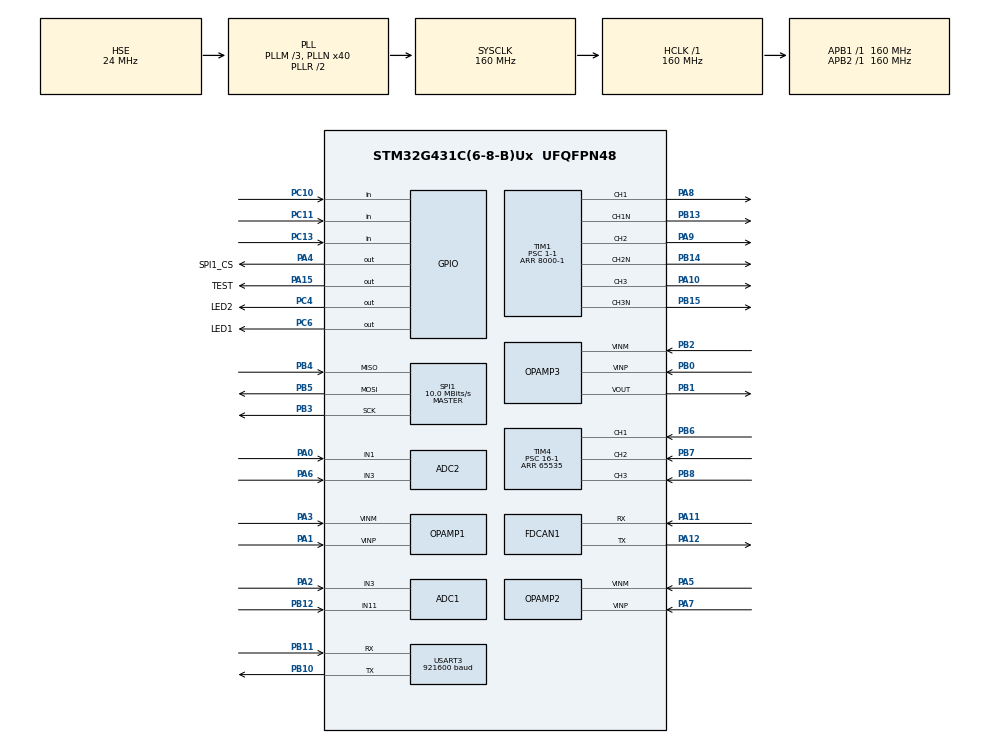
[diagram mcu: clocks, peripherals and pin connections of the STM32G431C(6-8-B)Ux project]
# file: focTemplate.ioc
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ADC1.Channel-0\#ChannelRegularConversion=ADC_CHANNEL_11
ADC1.ClockPrescaler=ADC_CLOCK_ASYNC_DIV4
ADC1.EnableInjectedConversion=ENABLE
ADC1.ExternalTrigInjecConv=ADC_EXTERNALTRIGINJEC_T1_CC4
ADC1.InjNumberOfConversion=2
ADC1.InjectedChannel-1\#ChannelInjectedConversion=ADC_CHANNEL_3
ADC1.InjectedChannel-2\#ChannelInjectedConversion=ADC_CHANNEL_12
ADC1.InjectedOffsetNumber-1\#ChannelInjectedConversion=ADC_OFFSET_NONE
ADC1.InjectedOffsetNumber-2\#ChannelInjectedConversion=ADC_OFFSET_NONE
ADC1.InjectedRank-1\#ChannelInjectedConversion=1
ADC1.InjectedRank-2\#ChannelInjectedConversion=2
ADC1.InjectedSamplingTime-1\#ChannelInjectedConversion=ADC_SAMPLETIME_6CYCLES_5
ADC1.InjectedSamplingTime-2\#ChannelInjectedConversion=ADC_SAMPLETIME_6CYCLES_5
ADC1.NbrOfConversionFlag=1
ADC1.OffsetNumber-0\#ChannelRegularConversion=ADC_OFFSET_NONE
ADC1.Rank-0\#ChannelRegularConversion=1
ADC1.SamplingTime-0\#ChannelRegularConversion=ADC_SAMPLETIME_2CYCLES_5
ADC1.master=1
ADC2.Channel-2\#ChannelRegularConversion=ADC_CHANNEL_1
ADC2.ClockPrescaler=ADC_CLOCK_ASYNC_DIV4
ADC2.EnableInjectedConversion=ENABLE
ADC2.EnableRegularConversion=ENABLE
ADC2.ExternalTrigInjecConv=ADC_EXTERNALTRIGINJEC_T1_CC4
ADC2.InjNumberOfConversion=1
ADC2.InjectedChannel-1\#ChannelInjectedConversion=ADC_CHANNEL_3
ADC2.InjectedOffsetNumber-1\#ChannelInjectedConversion=ADC_OFFSET_NONE
ADC2.InjectedRank-1\#ChannelInjectedConversion=1
ADC2.InjectedSamplingTime-1\#ChannelInjectedConversion=ADC_SAMPLETIME_6CYCLES_5
ADC2.NbrOfConversionFlag=1
ADC2.OffsetNumber-2\#ChannelRegularConversion=ADC_OFFSET_NONE
ADC2.Rank-2\#ChannelRegularConversion=1
ADC2.SamplingTime-2\#ChannelRegularConversion=ADC_SAMPLETIME_2CYCLES_5
COMP1.TriggerMode=COMP_TRIGGERMODE_IT_RISING
Dma.Request0=USART3_TX
Dma.Request1=USART3_RX
Dma.USART3_RX.1.Direction=DMA_PERIPH_TO_MEMORY
Dma.USART3_RX.1.EventEnable=DISABLE
Dma.USART3_RX.1.Instance=DMA1_Channel2
Dma.USART3_RX.1.MemDataAlignment=DMA_MDATAALIGN_BYTE
Dma.USART3_RX.1.MemInc=DMA_MINC_ENABLE
Dma.USART3_RX.1.Mode=DMA_NORMAL
Dma.USART3_RX.1.PeriphDataAlignment=DMA_PDATAALIGN_BYTE
Dma.USART3_RX.1.PeriphInc=DMA_PINC_DISABLE
Dma.USART3_RX.1.Polarity=HAL_DMAMUX_REQ_GEN_RISING
Dma.USART3_RX.1.Priority=DMA_PRIORITY_LOW
Dma.USART3_RX.1.RequestNumber=1
Dma.USART3_RX.1.SignalID=NONE
Dma.USART3_RX.1.SyncEnable=DISABLE
Dma.USART3_RX.1.SyncPolarity=HAL_DMAMUX_SYNC_NO_EVENT
Dma.USART3_RX.1.SyncRequestNumber=1
Dma.USART3_RX.1.SyncSignalID=NONE
Dma.USART3_TX.0.Direction=DMA_MEMORY_TO_PERIPH
Dma.USART3_TX.0.EventEnable=DISABLE
Dma.USART3_TX.0.Instance=DMA1_Channel1
Dma.USART3_TX.0.MemDataAlignment=DMA_MDATAALIGN_BYTE
Dma.USART3_TX.0.MemInc=DMA_MINC_ENABLE
Dma.USART3_TX.0.Mode=DMA_NORMAL
Dma.USART3_TX.0.PeriphDataAlignment=DMA_PDATAALIGN_BYTE
Dma.USART3_TX.0.PeriphInc=DMA_PINC_DISABLE
Dma.USART3_TX.0.Polarity=HAL_DMAMUX_REQ_GEN_RISING
Dma.USART3_TX.0.Priority=DMA_PRIORITY_LOW
Dma.USART3_TX.0.RequestNumber=1
Dma.USART3_TX.0.SignalID=NONE
Dma.USART3_TX.0.SyncEnable=DISABLE
Dma.USART3_TX.0.SyncPolarity=HAL_DMAMUX_SYNC_NO_EVENT
Dma.USART3_TX.0.SyncRequestNumber=1
Dma.USART3_TX.0.SyncSignalID=NONE
FDCAN1.CalculateBaudRateNominal=500000
FDCAN1.CalculateTimeBitNominal=2000
FDCAN1.CalculateTimeQuantumNominal=125.0
FDCAN1.DataPrescaler=20
FDCAN1.DataTimeSeg1=10
FDCAN1.DataTimeSeg2=5
FDCAN1.ExtFiltersNbr=1
FDCAN1.NominalPrescaler=20
FDCAN1.NominalTimeSeg1=10
FDCAN1.NominalTimeSeg2=5
FDCAN1.StdFiltersNbr=1
Mcu.Family=STM32G4
Mcu.Name=STM32G431C(6-8-B)Ux
Mcu.Package=UFQFPN48
NVIC.ADC1_2_IRQn=true\:0\:0\:true\:false\:true\:true\:true\:true
NVIC.COMP1_2_3_IRQn=true\:1\:0\:true\:false\:true\:false\:true\:true
NVIC.DMA1_Channel1_IRQn=true\:1\:0\:true\:false\:true\:false\:true\:true
NVIC.DMA1_Channel2_IRQn=true\:1\:0\:true\:false\:true\:false\:true\:true
NVIC.PriorityGroup=NVIC_PRIORITYGROUP_4
NVIC.USART3_IRQn=true\:1\:0\:true\:false\:true\:true\:true\:true
PA0.Mode=IN1-Single-Ended
PA0.Signal=ADC2_IN1
PA1.Mode=Standalone
PA1.Signal=OPAMP1_VINP
PA10.Signal=S_TIM1_CH3
PA11.Mode=FDCAN_Activate
PA11.Signal=FDCAN1_RX
PA12.Mode=FDCAN_Activate
PA12.Signal=FDCAN1_TX
PA13.Mode=Serial_Wire
PA13.Signal=SYS_JTMS-SWDIO
PA14.Mode=Serial_Wire
PA14.Signal=SYS_JTCK-SWCLK
PA15.GPIO_Label=TEST
PA15.GPIO_Speed=GPIO_SPEED_FREQ_VERY_HIGH
PA15.Signal=GPIO_Output
PA2.Signal=SharedAnalog_PA2
PA3.Mode=Standalone
PA3.Signal=OPAMP1_VINM
PA4.GPIO_Label=SPI1_CS
PA4.GPIO_Speed=GPIO_SPEED_FREQ_VERY_HIGH
PA4.PinState=GPIO_PIN_SET
PA4.Signal=GPIO_Output
PA5.Mode=Standalone
PA5.Signal=OPAMP2_VINM
PA6.Signal=SharedAnalog_PA6
PA7.Mode=Standalone
PA7.Signal=OPAMP2_VINP
PA8.Signal=S_TIM1_CH1
PA9.Signal=S_TIM1_CH2
PB0.Mode=Standalone
PB0.Signal=OPAMP3_VINP
PB1.Signal=SharedAnalog_PB1
PB10.Mode=Asynchronous
PB10.Signal=USART3_TX
PB11.Mode=Asynchronous
PB11.Signal=USART3_RX
PB12.Mode=IN11-Single-Ended
PB12.Signal=ADC1_IN11
PB13.Mode=PWM Generation1 CH1 CH1N
PB13.Signal=TIM1_CH1N
PB14.Mode=PWM Generation2 CH2 CH2N
PB14.Signal=TIM1_CH2N
PB15.Mode=PWM Generation3 CH3 CH3N
PB15.Signal=TIM1_CH3N
PB2.Mode=Standalone
PB2.Signal=OPAMP3_VINM
PB3.Mode=Full_Duplex_Master
PB3.Signal=SPI1_SCK
PB4.Mode=Full_Duplex_Master
PB4.Signal=SPI1_MISO
PB5.Mode=Full_Duplex_Master
PB5.Signal=SPI1_MOSI
PB6.Signal=S_TIM4_CH1
PB7.Signal=S_TIM4_CH2
PB8-BOOT0.Signal=S_TIM4_CH3
PC10.Signal=GPIO_Input
PC11.Signal=GPIO_Input
PC13.Signal=GPIO_Input
PC4.GPIO_Label=LED2
PC4.Signal=GPIO_Output
PC6.GPIO_Label=LED1
PC6.Signal=GPIO_Output
PF0-OSC_IN.Mode=HSE-External-Oscillator
PF0-OSC_IN.Signal=RCC_OSC_IN
PF1-OSC_OUT.Mode=HSE-External-Oscillator
PF1-OSC_OUT.Signal=RCC_OSC_OUT
ProjectManager.HeapSize=0x200
ProjectManager.StackSize=0x400
ProjectManager.TargetToolchain=STM32CubeIDE
RCC.ADC12Freq_Value=160000000
RCC.AHBFreq_Value=160000000
RCC.APB1Freq_Value=160000000
RCC.APB1TimFreq_Value=160000000
RCC.APB2Freq_Value=160000000
RCC.APB2TimFreq_Value=160000000
RCC.CortexFreq_Value=160000000
RCC.EXTERNAL_CLOCK_VALUE=12288000
RCC.HCLKFreq_Value=160000000
RCC.HSE_VALUE=24000000
RCC.HSI48_VALUE=48000000
RCC.HSI_VALUE=16000000
RCC.LSE_VALUE=32768
RCC.PLLM=RCC_PLLM_DIV3
RCC.PLLN=40
RCC.PLLSourceVirtual=RCC_PLLSOURCE_HSE
RCC.SYSCLKFreq_VALUE=160000000
RCC.SYSCLKSource=RCC_SYSCLKSOURCE_PLLCLK
RCC.USBFreq_Value=160000000
RCC.VCOOutputFreq_Value=320000000
SH.S_TIM1_CH1.0=TIM1_CH1,PWM Generation1 CH1 CH1N
SH.S_TIM1_CH2.0=TIM1_CH2,PWM Generation2 CH2 CH2N
SH.S_TIM1_CH3.0=TIM1_CH3,PWM Generation3 CH3 CH3N
SH.S_TIM4_CH1.0=TIM4_CH1,Xored_Inputs_Hall_Sensor_Interface
SH.S_TIM4_CH2.0=TIM4_CH2,Xored_Inputs_Hall_Sensor_Interface
SH.S_TIM4_CH3.0=TIM4_CH3,Xored_Inputs_Hall_Sensor_Interface
SH.SharedAnalog_PA2.0=ADC1_IN3,IN3-Single-Ended
SH.SharedAnalog_PA2.1=OPAMP1_VOUT,Standalone
SH.SharedAnalog_PA6.0=ADC2_IN3,IN3-Single-Ended
SH.SharedAnalog_PA6.1=OPAMP2_VOUT,Standalone
SH.SharedAnalog_PB1.0=OPAMP3_VOUT,Standalone
SH.SharedAnalog_PB1.1=ADC1_IN12,IN12-Single-Ended
SH.SharedAnalog_PB1.2=COMP1_INP,INP
SPI1.BaudRatePrescaler=SPI_BAUDRATEPRESCALER_16
SPI1.CLKPhase=SPI_PHASE_2EDGE
SPI1.CalculateBaudRate=10.0 MBits/s
SPI1.DataSize=SPI_DATASIZE_16BIT
SPI1.Direction=SPI_DIRECTION_2LINES
SPI1.Mode=SPI_MODE_MASTER
SPI1.VirtualType=VM_MASTER
STMicroelectronics.X-CUBE-ALGOBUILD.1.3.0.LibraryCcDSPOoLibraryJjDSPOoLibrary=true
TIM1.BreakFilter=2
TIM1.BreakState=TIM_BREAK_ENABLE
TIM1.Channel-PWM\ Generation1\ CH1\ CH1N=TIM_CHANNEL_1
TIM1.Channel-PWM\ Generation2\ CH2\ CH2N=TIM_CHANNEL_2
TIM1.Channel-PWM\ Generation3\ CH3\ CH3N=TIM_CHANNEL_3
TIM1.Channel-PWM\ Generation4\ No\ Output=TIM_CHANNEL_4
TIM1.ClockDivision=TIM_CLOCKDIVISION_DIV2
TIM1.CounterMode=TIM_COUNTERMODE_CENTERALIGNED1
TIM1.DeadTime=120
TIM1.OCMode_PWM-PWM\ Generation4\ No\ Output=TIM_OCMODE_PWM2
TIM1.PeriodNoDither=8000-1
TIM1.Prescaler=1-1
TIM1.PulseNoDither_4=8000-2
TIM1.RepetitionCounter=1
TIM1.SourceBRKCOMP1=TIM_BREAKINPUTSOURCE_ENABLE
TIM1.TIM_MasterOutputTrigger=TIM_TRGO_OC4REF
TIM4.Commutation_Delay=5
TIM4.IC1Filter=10
TIM4.PeriodNoDither=65535
TIM4.Prescaler=16-1
USART3.BaudRate=921600
USART3.VirtualMode-Asynchronous=VM_ASYNC
VP_COMP1_VS_DAC3OUT1.Mode=INM_DAC3OUT1
VP_DAC3_VS_DACI1.Mode=DAC_OUT1_Int
VP_STMicroelectronics.X-CUBE-ALGOBUILD_VS_DSPOoLibraryJjLibrary_1.3.0_1.3.0.Mode=DSPOoLibraryJjLibrary
VP_SYS_VS_DBSignals.Mode=DisableDeadBatterySignals
VP_TIM1_VS_ClockSourceINT.Mode=Internal
VP_TIM1_VS_no_output4.Mode=PWM Generation4 No Output
VP_TIM4_VS_ClockSourceINT.Mode=Internal
board=custom

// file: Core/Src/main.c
/* USER CODE BEGIN Header */
/**
 ******************************************************************************
 * @file           : main.c
 * @brief          : Main program body
 ******************************************************************************
 * @attention
 *
 * <h2><center>&copy; Copyright (c) 2023 STMicroelectronics.
 * All rights reserved.</center></h2>
 *
 * This software component is licensed by ST under BSD 3-Clause license,
 * the "License"; You may not use this file except in compliance with the
 * License. You may obtain a copy of the License at:
 *                        opensource.org/licenses/BSD-3-Clause
 *
 ******************************************************************************
 */
/* USER CODE END Header */
#include "main.h"
#include "adc.h"
#include "comp.h"
#include "dac.h"
#include "dma.h"
#include "fdcan.h"
#include "opamp.h"
#include "spi.h"
#include "tim.h"
#include "usart.h"
#include "gpio.h"

/* USER CODE BEGIN Includes */
#include <stdio.h>
#include <string.h>
#include "../../User/app.h"
#include "../../User/userMain.h"
#include "../../User/comm.h"
/* USER CODE END Includes */

void SystemClock_Config(void);
/* USER CODE BEGIN PFP */
void FDCAN_Config(void);
/* USER CODE END PFP */

int main(void)
{

  /* MCU Configuration--------------------------------------------------------*/

  /* Reset of all peripherals, Initializes the Flash interface and the Systick. */
  HAL_Init();

  /* Configure the system clock */
  SystemClock_Config();

  /* Initialize all configured peripherals */
  MX_GPIO_Init();
  MX_DMA_Init();
  MX_USART3_UART_Init();
  MX_ADC1_Init();
  MX_ADC2_Init();
  MX_OPAMP1_Init();
  MX_OPAMP2_Init();
  MX_OPAMP3_Init();
  MX_TIM1_Init();
  MX_COMP1_Init();
  MX_DAC3_Init();
  MX_FDCAN1_Init();
  MX_TIM4_Init();
  MX_SPI1_Init();
  /* USER CODE BEGIN 2 */
  appInit();
  HAL_OPAMP_Start(&hopamp1);
  HAL_OPAMP_Start(&hopamp2);
  HAL_OPAMP_Start(&hopamp3);
  // HAL_UART_Receive_IT(&huart3, (uint8_t *)&aRxBuffer, 1);
  HAL_UARTEx_ReceiveToIdle_DMA(&huart3, rxBuffer, sizeof(rxBuffer));
  HAL_ADCEx_Calibration_Start(&hadc1, ADC_SINGLE_ENDED);
  HAL_ADCEx_Calibration_Start(&hadc2, ADC_SINGLE_ENDED);
  __HAL_ADC_CLEAR_FLAG(&hadc1, ADC_FLAG_JEOC);
  __HAL_ADC_CLEAR_FLAG(&hadc1, ADC_FLAG_EOC);
  __HAL_ADC_CLEAR_FLAG(&hadc2, ADC_FLAG_JEOC);
  HAL_ADCEx_InjectedStart_IT(&hadc1);
  HAL_ADCEx_InjectedStart(&hadc2);

  HAL_TIM_Base_Start(&htim1);
  HAL_TIM_PWM_Start(&htim1, TIM_CHANNEL_4);

  // HAL_DAC_SetValue(&hdac3, DAC_CHANNEL_1, DAC_ALIGN_12B_R, 3000);
  // HAL_DAC_Start(&hdac3, DAC_CHANNEL_1);
  // //  HAL_DAC_Start(&hdac1, DAC_CHANNEL_1);
  // HAL_COMP_Start(&hcomp1);
  // HAL_TIMEx_HallSensor_Start_IT(&htim4);
  // FDCAN_Config();
  HAL_TIM_PWM_Start(&htim1, TIM_CHANNEL_1);
  HAL_TIM_PWM_Start(&htim1, TIM_CHANNEL_2);
  HAL_TIM_PWM_Start(&htim1, TIM_CHANNEL_3);
  HAL_TIMEx_PWMN_Start(&htim1, TIM_CHANNEL_1);
  HAL_TIMEx_PWMN_Start(&htim1, TIM_CHANNEL_2);
  HAL_TIMEx_PWMN_Start(&htim1, TIM_CHANNEL_3);

  /* USER CODE END 2 */

  /* Infinite loop */
  /* USER CODE BEGIN WHILE */
  while (1)
  {
    //    HAL_ADC_Start(&hadc1);
    //    HAL_ADC_Start(&hadc2);
    //    Vpoten = HAL_ADC_GetValue(&hadc1);
    //    adc_vbus = HAL_ADC_GetValue(&hadc2);
    //    Vbus = adc_vbus * 3.3f / 4096 * 26;
    //    //		HAL_DAC_SetValue(&hdac1,DAC_CHANNEL_1,DAC_ALIGN_12B_R,DAC_temp);
    //    HAL_FDCAN_AddMessageToTxFifoQ(&hfdcan1, &TxHeader, TxData);
    //    HAL_Delay(10);
    /* USER CODE END WHILE */

    /* USER CODE BEGIN 3 */
    userMain();
  }
  /* USER CODE END 3 */
}

void SystemClock_Config(void)
{
  RCC_OscInitTypeDef RCC_OscInitStruct = {0};
  RCC_ClkInitTypeDef RCC_ClkInitStruct = {0};

  /** Configure the main internal regulator output voltage
   */
  HAL_PWREx_ControlVoltageScaling(PWR_REGULATOR_VOLTAGE_SCALE1_BOOST);

  /** Initializes the RCC Oscillators according to the specified parameters
   * in the RCC_OscInitTypeDef structure.
   */
  RCC_OscInitStruct.OscillatorType = RCC_OSCILLATORTYPE_HSE;
  RCC_OscInitStruct.HSEState = RCC_HSE_ON;
  RCC_OscInitStruct.PLL.PLLState = RCC_PLL_ON;
  RCC_OscInitStruct.PLL.PLLSource = RCC_PLLSOURCE_HSE;
  RCC_OscInitStruct.PLL.PLLM = RCC_PLLM_DIV3;
  RCC_OscInitStruct.PLL.PLLN = 40;
  RCC_OscInitStruct.PLL.PLLP = RCC_PLLP_DIV2;
  RCC_OscInitStruct.PLL.PLLQ = RCC_PLLQ_DIV2;
  RCC_OscInitStruct.PLL.PLLR = RCC_PLLR_DIV2;
  if (HAL_RCC_OscConfig(&RCC_OscInitStruct) != HAL_OK)
  {
    Error_Handler();
  }

  /** Initializes the CPU, AHB and APB buses clocks
   */
  RCC_ClkInitStruct.ClockType = RCC_CLOCKTYPE_HCLK | RCC_CLOCKTYPE_SYSCLK | RCC_CLOCKTYPE_PCLK1 | RCC_CLOCKTYPE_PCLK2;
  RCC_ClkInitStruct.SYSCLKSource = RCC_SYSCLKSOURCE_PLLCLK;
  RCC_ClkInitStruct.AHBCLKDivider = RCC_SYSCLK_DIV1;
  RCC_ClkInitStruct.APB1CLKDivider = RCC_HCLK_DIV1;
  RCC_ClkInitStruct.APB2CLKDivider = RCC_HCLK_DIV1;

  if (HAL_RCC_ClockConfig(&RCC_ClkInitStruct, FLASH_LATENCY_4) != HAL_OK)
  {
    Error_Handler();
  }
}

void Error_Handler(void)
{
  __disable_irq();
  while (1)
  {
  }
}
